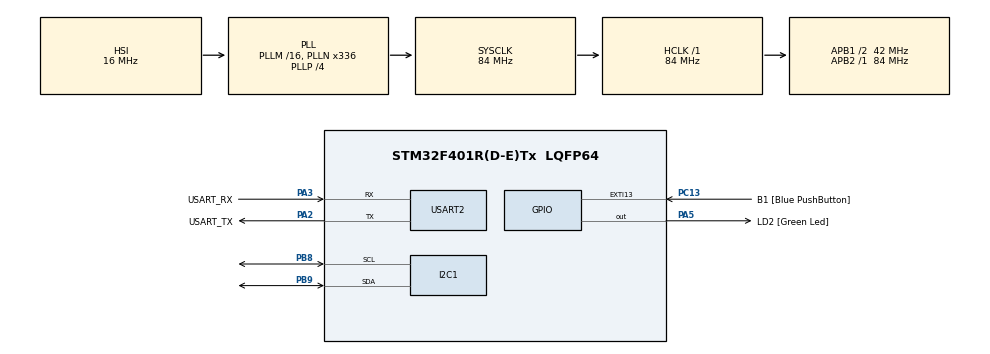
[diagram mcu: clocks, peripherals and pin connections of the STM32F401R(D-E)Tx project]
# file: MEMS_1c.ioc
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Dma.I2C1_RX.1.Direction=DMA_PERIPH_TO_MEMORY
Dma.I2C1_RX.1.FIFOMode=DMA_FIFOMODE_DISABLE
Dma.I2C1_RX.1.Instance=DMA1_Stream0
Dma.I2C1_RX.1.MemDataAlignment=DMA_MDATAALIGN_BYTE
Dma.I2C1_RX.1.MemInc=DMA_MINC_ENABLE
Dma.I2C1_RX.1.Mode=DMA_NORMAL
Dma.I2C1_RX.1.PeriphDataAlignment=DMA_PDATAALIGN_BYTE
Dma.I2C1_RX.1.PeriphInc=DMA_PINC_DISABLE
Dma.I2C1_RX.1.Priority=DMA_PRIORITY_LOW
Dma.I2C1_TX.2.Direction=DMA_MEMORY_TO_PERIPH
Dma.I2C1_TX.2.FIFOMode=DMA_FIFOMODE_DISABLE
Dma.I2C1_TX.2.Instance=DMA1_Stream7
Dma.I2C1_TX.2.MemDataAlignment=DMA_MDATAALIGN_BYTE
Dma.I2C1_TX.2.MemInc=DMA_MINC_ENABLE
Dma.I2C1_TX.2.Mode=DMA_NORMAL
Dma.I2C1_TX.2.PeriphDataAlignment=DMA_PDATAALIGN_BYTE
Dma.I2C1_TX.2.PeriphInc=DMA_PINC_DISABLE
Dma.I2C1_TX.2.Priority=DMA_PRIORITY_LOW
Dma.Request0=USART2_TX
Dma.Request1=I2C1_RX
Dma.Request2=I2C1_TX
Dma.USART2_TX.0.Direction=DMA_MEMORY_TO_PERIPH
Dma.USART2_TX.0.FIFOMode=DMA_FIFOMODE_DISABLE
Dma.USART2_TX.0.Instance=DMA1_Stream6
Dma.USART2_TX.0.MemDataAlignment=DMA_MDATAALIGN_BYTE
Dma.USART2_TX.0.MemInc=DMA_MINC_ENABLE
Dma.USART2_TX.0.Mode=DMA_NORMAL
Dma.USART2_TX.0.PeriphDataAlignment=DMA_PDATAALIGN_BYTE
Dma.USART2_TX.0.PeriphInc=DMA_PINC_DISABLE
Dma.USART2_TX.0.Priority=DMA_PRIORITY_LOW
Mcu.Family=STM32F4
Mcu.Name=STM32F401R(D-E)Tx
Mcu.Package=LQFP64
NVIC.DMA1_Stream0_IRQn=true\:0\:0\:false\:false\:true\:false\:true\:true
NVIC.DMA1_Stream6_IRQn=true\:0\:0\:false\:false\:true\:false\:true\:true
NVIC.DMA1_Stream7_IRQn=true\:0\:0\:false\:false\:true\:false\:true\:true
NVIC.I2C1_ER_IRQn=true\:0\:0\:false\:false\:true\:true\:true\:true
NVIC.I2C1_EV_IRQn=true\:0\:0\:false\:false\:true\:true\:true\:true
NVIC.PriorityGroup=NVIC_PRIORITYGROUP_0
NVIC.TIM2_IRQn=true\:0\:0\:false\:false\:true\:true\:true\:true
NVIC.USART2_IRQn=true\:0\:0\:false\:false\:true\:true\:true\:true
PA13.GPIO_Label=TMS
PA13.Mode=Serial_Wire
PA13.Signal=SYS_JTMS-SWDIO
PA14.GPIO_Label=TCK
PA14.Mode=Serial_Wire
PA14.Signal=SYS_JTCK-SWCLK
PA2.GPIO_Label=USART_TX
PA2.GPIO_Mode=GPIO_MODE_AF_PP
PA2.GPIO_PuPd=GPIO_NOPULL
PA2.GPIO_Speed=GPIO_SPEED_FREQ_LOW
PA2.Mode=Asynchronous
PA2.Signal=USART2_TX
PA3.GPIO_Label=USART_RX
PA3.GPIO_Mode=GPIO_MODE_AF_PP
PA3.GPIO_PuPd=GPIO_NOPULL
PA3.GPIO_Speed=GPIO_SPEED_FREQ_LOW
PA3.Mode=Asynchronous
PA3.Signal=USART2_RX
PA5.GPIO_Label=LD2 [Green Led]
PA5.GPIO_Mode=GPIO_MODE_OUTPUT_PP
PA5.GPIO_PuPd=GPIO_NOPULL
PA5.GPIO_Speed=GPIO_SPEED_FREQ_LOW
PA5.Signal=GPIO_Output
PB3.GPIO_Label=SWO
PB3.Signal=SYS_JTDO-SWO
PB8.Mode=I2C
PB8.Signal=I2C1_SCL
PB9.Mode=I2C
PB9.Signal=I2C1_SDA
PC13-ANTI_TAMP.GPIO_Label=B1 [Blue PushButton]
PC13-ANTI_TAMP.GPIO_ModeDefaultEXTI=GPIO_MODE_IT_FALLING
PC13-ANTI_TAMP.GPIO_PuPd=GPIO_NOPULL
PC13-ANTI_TAMP.Signal=GPXTI13
PC14-OSC32_IN.Mode=LSE-External-Oscillator
PC14-OSC32_IN.Signal=RCC_OSC32_IN
PC15-OSC32_OUT.Mode=LSE-External-Oscillator
PC15-OSC32_OUT.Signal=RCC_OSC32_OUT
PH0\ -\ OSC_IN.Mode=HSE-External-Clock-Source
PH0\ -\ OSC_IN.Signal=RCC_OSC_IN
PH1\ -\ OSC_OUT.Mode=HSE-External-Clock-Source
PH1\ -\ OSC_OUT.Signal=RCC_OSC_OUT
ProjectManager.HeapSize=0x200
ProjectManager.StackSize=0x400
ProjectManager.TargetToolchain=STM32CubeIDE
RCC.48MHZClocksFreq_Value=48000000
RCC.AHBFreq_Value=84000000
RCC.APB1CLKDivider=RCC_HCLK_DIV2
RCC.APB1Freq_Value=42000000
RCC.APB1TimFreq_Value=84000000
RCC.APB2Freq_Value=84000000
RCC.APB2TimFreq_Value=84000000
RCC.CortexFreq_Value=84000000
RCC.HCLKFreq_Value=84000000
RCC.HSE_VALUE=8000000
RCC.HSI_VALUE=16000000
RCC.PLLN=336
RCC.PLLP=RCC_PLLP_DIV4
RCC.PLLQ=7
RCC.SYSCLKFreq_VALUE=84000000
RCC.SYSCLKSource=RCC_SYSCLKSOURCE_PLLCLK
RCC.VCOOutputFreq_Value=336000000
TIM2.Period=(TEMPO*10)-1
TIM2.Prescaler=8400-1
USART2.VirtualMode=VM_ASYNC
VP_TIM2_VS_ClockSourceINT.Mode=Internal
board=NUCLEO-F401RE

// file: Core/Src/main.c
/* USER CODE BEGIN Header */
/**
  ******************************************************************************
  * @file           : main.c
  * @brief          : Main program body
  ******************************************************************************
  * @attention
  *
  * Copyright (c) 2024 STMicroelectronics.
  * All rights reserved.
  *
  * This software is licensed under terms that can be found in the LICENSE file
  * in the root directory of this software component.
  * If no LICENSE file comes with this software, it is provided AS-IS.
  *
  ******************************************************************************
  */
/* USER CODE END Header */
#include "main.h"
#include "stdio.h"

/* USER CODE BEGIN PD */
#define TEMPO 1000
/* USER CODE END PD */

I2C_HandleTypeDef hi2c1;
DMA_HandleTypeDef hdma_i2c1_rx;
DMA_HandleTypeDef hdma_i2c1_tx;

TIM_HandleTypeDef htim2;

UART_HandleTypeDef huart2;
DMA_HandleTypeDef hdma_usart2_tx;

/* USER CODE BEGIN PV */
//LISDE write and read addresses
uint16_t MEMS_WR_ADDRESS = 0b01010000;
//uint16_t MEMS_RD_ADDRESS = 0b01010001;
//LISDE12 write and read addresses
uint16_t MEMS12_WR_ADDRESS = 0b00110000;
//uint16_t MEMS12_RD_ADDRESS = 0b00110001;

uint8_t CTRL_REG1[] = {0x20, 0b00010111}; //reg address, 1Hz + normal mode + XYZ enabled
uint8_t CTRL_REG2[] = {0x21, 0b00000000}; //reg address, no HPF (default value at startup)
uint8_t CTRL_REG4[] = {0x23, 0b00000000}; //reg address, continuos update + 2g FSR + self test disabled (default value at st)

uint16_t MEMS_REGISTER_X_AUTO_INCREMENT = 0x29 | 0x80; // Setting MSB to 1 to enable auto-increment

uint16_t size = 1; // #Bytes of initial I2C transmissions
uint16_t multiple_size = 5; // #Bytes to read (X, Y, Z)
uint32_t timeout = 10; // Timeout for initial I2C transmissions

char string[32];
int string_length = 0;

int8_t xyz_data[5]; // Array to hold X, Y, Z data
/* USER CODE END PV */

void SystemClock_Config(void);
static void MX_GPIO_Init(void);
static void MX_DMA_Init(void);
static void MX_USART2_UART_Init(void);
static void MX_I2C1_Init(void);
static void MX_TIM2_Init(void);

/* USER CODE BEGIN 0 */
void HAL_TIM_PeriodElapsedCallback (TIM_HandleTypeDef *htim) {
	xyz_data[0] = 0;
	xyz_data[2] = 0;
	xyz_data[4] = 0;
    // Transmit the X register address with auto-increment enabled
	HAL_I2C_Master_Transmit_DMA(&hi2c1, MEMS_WR_ADDRESS, (uint8_t*)&MEMS_REGISTER_X_AUTO_INCREMENT, size);
}

void HAL_I2C_MasterTxCpltCallback (I2C_HandleTypeDef *hi2c){
    // Transmit complete, now initiate a receive to read X, Y, Z
	HAL_I2C_Master_Receive_DMA(&hi2c1, (MEMS_WR_ADDRESS + 1), (uint8_t*)xyz_data, multiple_size);
}

void HAL_I2C_MasterRxCpltCallback (I2C_HandleTypeDef *hi2c){
	float acc_g_x = xyz_data[0] / 64.0;
	float acc_g_y = xyz_data[2] / 64.0;
	float acc_g_z = xyz_data[4] / 64.0;
	string_length = snprintf(string, sizeof(string), "X:%.2fg, Y:%.2fg, Z:%.2fg\n", acc_g_x, acc_g_y, acc_g_z);
	HAL_UART_Transmit_DMA(&huart2, (uint8_t*)string, string_length);
}
/* USER CODE END 0 */

int main(void)
{

  /* MCU Configuration--------------------------------------------------------*/

  /* Reset of all peripherals, Initializes the Flash interface and the Systick. */
  HAL_Init();

  /* Configure the system clock */
  SystemClock_Config();

  /* Initialize all configured peripherals */
  MX_GPIO_Init();
  MX_DMA_Init();
  MX_USART2_UART_Init();
  MX_I2C1_Init();
  MX_TIM2_Init();
  /* USER CODE BEGIN 2 */

  if (HAL_I2C_Master_Transmit(&hi2c1, MEMS_WR_ADDRESS, CTRL_REG1, sizeof(CTRL_REG1), timeout) == HAL_OK) {
	  string_length = snprintf(string, sizeof(string), "LIS2DE found!\n");
  }
  else {
      if (HAL_I2C_Master_Transmit(&hi2c1, MEMS12_WR_ADDRESS, CTRL_REG1, sizeof(CTRL_REG1), timeout) == HAL_OK) {
    	  string_length = snprintf(string, sizeof(string), "LIS2DE12 found!\n");
      }
      else {
          string_length = snprintf(string, sizeof(string), "Error! No device found!\n");
      }
  }

  HAL_UART_Transmit_DMA(&huart2, (uint8_t*)string, string_length);

  HAL_I2C_Master_Transmit(&hi2c1, MEMS_WR_ADDRESS, CTRL_REG2, sizeof(CTRL_REG2), timeout);
  HAL_I2C_Master_Transmit(&hi2c1, MEMS_WR_ADDRESS, CTRL_REG4, sizeof(CTRL_REG4), timeout);

  HAL_TIM_Base_Start_IT(&htim2);
  /* USER CODE END 2 */

  /* Infinite loop */
  while (1)
  {

  }
}

void SystemClock_Config(void)
{
  RCC_OscInitTypeDef RCC_OscInitStruct = {0};
  RCC_ClkInitTypeDef RCC_ClkInitStruct = {0};

  /** Configure the main internal regulator output voltage
  */
  __HAL_RCC_PWR_CLK_ENABLE();
  __HAL_PWR_VOLTAGESCALING_CONFIG(PWR_REGULATOR_VOLTAGE_SCALE2);

  /** Initializes the RCC Oscillators according to the specified parameters
  * in the RCC_OscInitTypeDef structure.
  */
  RCC_OscInitStruct.OscillatorType = RCC_OSCILLATORTYPE_HSI;
  RCC_OscInitStruct.HSIState = RCC_HSI_ON;
  RCC_OscInitStruct.HSICalibrationValue = RCC_HSICALIBRATION_DEFAULT;
  RCC_OscInitStruct.PLL.PLLState = RCC_PLL_ON;
  RCC_OscInitStruct.PLL.PLLSource = RCC_PLLSOURCE_HSI;
  RCC_OscInitStruct.PLL.PLLM = 16;
  RCC_OscInitStruct.PLL.PLLN = 336;
  RCC_OscInitStruct.PLL.PLLP = RCC_PLLP_DIV4;
  RCC_OscInitStruct.PLL.PLLQ = 7;
  if (HAL_RCC_OscConfig(&RCC_OscInitStruct) != HAL_OK)
  {
    Error_Handler();
  }

  /** Initializes the CPU, AHB and APB buses clocks
  */
  RCC_ClkInitStruct.ClockType = RCC_CLOCKTYPE_HCLK|RCC_CLOCKTYPE_SYSCLK
                              |RCC_CLOCKTYPE_PCLK1|RCC_CLOCKTYPE_PCLK2;
  RCC_ClkInitStruct.SYSCLKSource = RCC_SYSCLKSOURCE_PLLCLK;
  RCC_ClkInitStruct.AHBCLKDivider = RCC_SYSCLK_DIV1;
  RCC_ClkInitStruct.APB1CLKDivider = RCC_HCLK_DIV2;
  RCC_ClkInitStruct.APB2CLKDivider = RCC_HCLK_DIV1;

  if (HAL_RCC_ClockConfig(&RCC_ClkInitStruct, FLASH_LATENCY_2) != HAL_OK)
  {
    Error_Handler();
  }
}

static void MX_I2C1_Init(void)
{

  hi2c1.Instance = I2C1;
  hi2c1.Init.ClockSpeed = 100000;
  hi2c1.Init.DutyCycle = I2C_DUTYCYCLE_2;
  hi2c1.Init.OwnAddress1 = 0;
  hi2c1.Init.AddressingMode = I2C_ADDRESSINGMODE_7BIT;
  hi2c1.Init.DualAddressMode = I2C_DUALADDRESS_DISABLE;
  hi2c1.Init.OwnAddress2 = 0;
  hi2c1.Init.GeneralCallMode = I2C_GENERALCALL_DISABLE;
  hi2c1.Init.NoStretchMode = I2C_NOSTRETCH_DISABLE;
  if (HAL_I2C_Init(&hi2c1) != HAL_OK)
  {
    Error_Handler();
  }

}

static void MX_TIM2_Init(void)
{

  TIM_ClockConfigTypeDef sClockSourceConfig = {0};
  TIM_MasterConfigTypeDef sMasterConfig = {0};

  htim2.Instance = TIM2;
  htim2.Init.Prescaler = 8400-1;
  htim2.Init.CounterMode = TIM_COUNTERMODE_UP;
  htim2.Init.Period = (TEMPO*10)-1;
  htim2.Init.ClockDivision = TIM_CLOCKDIVISION_DIV1;
  htim2.Init.AutoReloadPreload = TIM_AUTORELOAD_PRELOAD_DISABLE;
  if (HAL_TIM_Base_Init(&htim2) != HAL_OK)
  {
    Error_Handler();
  }
  sClockSourceConfig.ClockSource = TIM_CLOCKSOURCE_INTERNAL;
  if (HAL_TIM_ConfigClockSource(&htim2, &sClockSourceConfig) != HAL_OK)
  {
    Error_Handler();
  }
  sMasterConfig.MasterOutputTrigger = TIM_TRGO_RESET;
  sMasterConfig.MasterSlaveMode = TIM_MASTERSLAVEMODE_DISABLE;
  if (HAL_TIMEx_MasterConfigSynchronization(&htim2, &sMasterConfig) != HAL_OK)
  {
    Error_Handler();
  }

}

static void MX_USART2_UART_Init(void)
{

  huart2.Instance = USART2;
  huart2.Init.BaudRate = 115200;
  huart2.Init.WordLength = UART_WORDLENGTH_8B;
  huart2.Init.StopBits = UART_STOPBITS_1;
  huart2.Init.Parity = UART_PARITY_NONE;
  huart2.Init.Mode = UART_MODE_TX_RX;
  huart2.Init.HwFlowCtl = UART_HWCONTROL_NONE;
  huart2.Init.OverSampling = UART_OVERSAMPLING_16;
  if (HAL_UART_Init(&huart2) != HAL_OK)
  {
    Error_Handler();
  }

}

static void MX_DMA_Init(void)
{

  /* DMA controller clock enable */
  __HAL_RCC_DMA1_CLK_ENABLE();

  /* DMA interrupt init */
  /* DMA1_Stream0_IRQn interrupt configuration */
  HAL_NVIC_SetPriority(DMA1_Stream0_IRQn, 0, 0);
  HAL_NVIC_EnableIRQ(DMA1_Stream0_IRQn);
  /* DMA1_Stream6_IRQn interrupt configuration */
  HAL_NVIC_SetPriority(DMA1_Stream6_IRQn, 0, 0);
  HAL_NVIC_EnableIRQ(DMA1_Stream6_IRQn);
  /* DMA1_Stream7_IRQn interrupt configuration */
  HAL_NVIC_SetPriority(DMA1_Stream7_IRQn, 0, 0);
  HAL_NVIC_EnableIRQ(DMA1_Stream7_IRQn);

}

static void MX_GPIO_Init(void)
{
  GPIO_InitTypeDef GPIO_InitStruct = {0};

  /* GPIO Ports Clock Enable */
  __HAL_RCC_GPIOC_CLK_ENABLE();
  __HAL_RCC_GPIOH_CLK_ENABLE();
  __HAL_RCC_GPIOA_CLK_ENABLE();
  __HAL_RCC_GPIOB_CLK_ENABLE();

  /*Configure GPIO pin Output Level */
  HAL_GPIO_WritePin(LD2_GPIO_Port, LD2_Pin, GPIO_PIN_RESET);

  /*Configure GPIO pin : B1_Pin */
  GPIO_InitStruct.Pin = B1_Pin;
  GPIO_InitStruct.Mode = GPIO_MODE_IT_FALLING;
  GPIO_InitStruct.Pull = GPIO_NOPULL;
  HAL_GPIO_Init(B1_GPIO_Port, &GPIO_InitStruct);

  /*Configure GPIO pin : LD2_Pin */
  GPIO_InitStruct.Pin = LD2_Pin;
  GPIO_InitStruct.Mode = GPIO_MODE_OUTPUT_PP;
  GPIO_InitStruct.Pull = GPIO_NOPULL;
  GPIO_InitStruct.Speed = GPIO_SPEED_FREQ_LOW;
  HAL_GPIO_Init(LD2_GPIO_Port, &GPIO_InitStruct);

}

void Error_Handler(void)
{
  __disable_irq();
  while (1)
  {
  }
}
